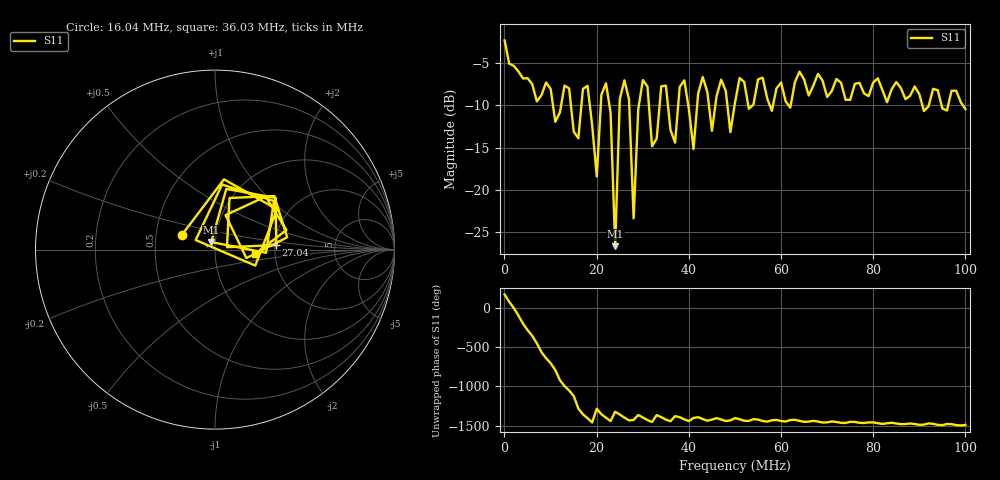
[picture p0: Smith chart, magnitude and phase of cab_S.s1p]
# Hz S RI R 50
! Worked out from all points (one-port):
!   101 points, 50 kHz to 100 MHz, reference 50 ohm
!   lowest |S11| = -26.6 dB at 24.04 MHz (marker M1), VSWR 1.10, Z = 47.8 + j4.01 ohm
!   |S11| at or under -10 dB: 10.54 MHz to 12.31 MHz (1.774 MHz wide, 15.5 % of centre); 14.43 MHz to 16.71 MHz (2.279 MHz wide, 14.6 % of centre); 18.54 MHz to 20.91 MHz (2.375 MHz wide, 12 % of centre)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
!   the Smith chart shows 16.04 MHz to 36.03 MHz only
!   S11 on the Smith chart (normalised r, x): 16.04 MHz: 0.68, +0.12; 27.04 MHz: 2.03, +0.12; 36.03 MHz: 1.58, -0.07
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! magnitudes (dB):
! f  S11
! 50 kHz  -2.4
! 11.04 MHz  -12.0
! 13.04 MHz  -7.7
! 16.04 MHz  -13.9
! 18.04 MHz  -7.7
! 20.04 MHz  -18.4
! 22.04 MHz  -7.4
! 23.04 MHz  -10.9
! 24.04 MHz  -26.6
! 25.04 MHz  -9.3
! 27.04 MHz  -9.3
! 28.04 MHz  -23.3
! 29.04 MHz  -10.5
! 30.04 MHz  -7.0
! 32.03 MHz  -14.8
! 34.03 MHz  -7.8
! 36.03 MHz  -12.9
! 38.03 MHz  -7.8
! 41.03 MHz  -15.2
! 43.03 MHz  -6.7
! 45.03 MHz  -13.0
! 47.03 MHz  -7.0
! 49.03 MHz  -13.2
! 50.02 MHz  -9.7
! 63.02 MHz  -7.3
! 75.01 MHz  -9.4
! 88.01 MHz  -8.9
! 100 MHz  -10.4
